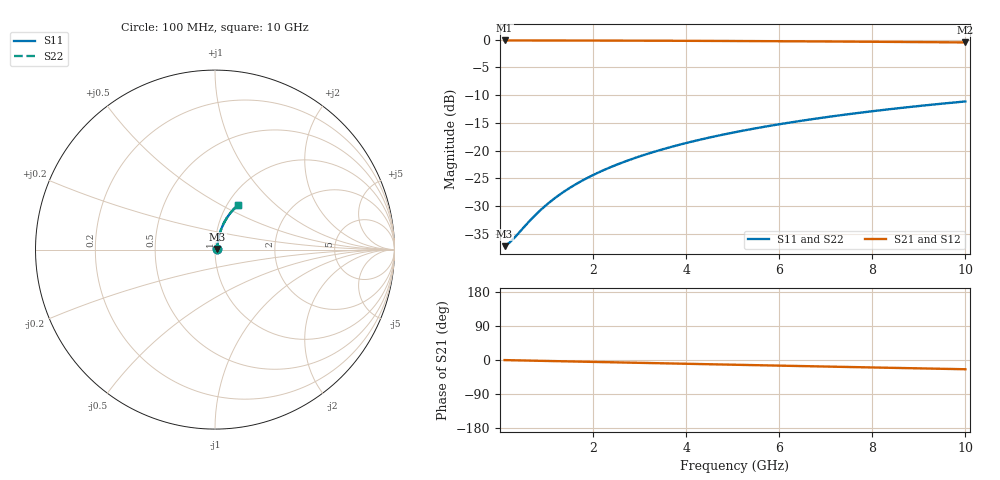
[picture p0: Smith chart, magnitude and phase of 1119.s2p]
# Hz S RI R 50.00
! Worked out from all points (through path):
!   100 points, 100 MHz to 10 GHz, reference 50 ohm
!   highest |S21| = -0.12 dB at 100 MHz (marker M1); lowest = -0.5 dB at 10 GHz (marker M2)
!   group delay of S21, straight-line fit = 6.79 ps
!   lowest |S11| = -37.3 dB at 100 MHz (marker M3), VSWR 1.03, Z = 51.4 + j0.295 ohm
!   |S11| at or under -10 dB: start of sweep to end of sweep
!   |S22| runs from -37.3 to -11.1 dB; largest |S21 - S12| = 0
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1e8  0.0134 0.00287  0.9866 -0.0043  0.9866 -0.0043  0.0134 0.00287
2e8  0.0135 0.00574  0.9865 -0.0086  0.9865 -0.0086  0.0135 0.00574
3e8  0.0136 0.00861  0.9864 -0.0129  0.9864 -0.0129  0.0136 0.00861
7e8  0.0143 0.0201  0.9856 -0.0301  0.9856 -0.0301  0.0143 0.0201
8e8  0.0145 0.0229  0.9854 -0.0344  0.9854 -0.0344  0.0145 0.0229
1e9  0.015 0.0286  0.9849 -0.0429  0.9849 -0.0429  0.015 0.0286
1.2e9  0.0156 0.0343  0.9842 -0.0515  0.9842 -0.0515  0.0156 0.0343
1.4e9  0.0163 0.04  0.9835 -0.0601  0.9835 -0.0601  0.0163 0.04
1.6e9  0.0171 0.0457  0.9826 -0.0686  0.9826 -0.0686  0.0171 0.0457
1.8e9  0.018 0.0513  0.9817 -0.0771  0.9817 -0.0771  0.018 0.0513
2.1e9  0.0195 0.0598  0.98 -0.0899  0.98 -0.0899  0.0195 0.0598
2.5e9  0.0218 0.071  0.9775 -0.1068  0.9775 -0.1068  0.0218 0.071
2.9e9  0.0245 0.082  0.9745 -0.1236  0.9745 -0.1236  0.0245 0.082
3.4e9  0.0285 0.0957  0.9703 -0.1444  0.9703 -0.1444  0.0285 0.0957
3.8e9  0.032 0.1065  0.9664 -0.161  0.9664 -0.161  0.032 0.1065
4.2e9  0.0359 0.1171  0.9622 -0.1774  0.9622 -0.1774  0.0359 0.1171
5.1e9  0.046 0.1404  0.9512 -0.2136  0.9512 -0.2136  0.046 0.1404
5.9e9  0.0564 0.1603  0.94 -0.245  0.94 -0.245  0.0564 0.1603
6.7e9  0.068 0.1793  0.9273 -0.2756  0.9273 -0.2756  0.068 0.1793
7.5e9  0.0807 0.1973  0.9133 -0.3052  0.9133 -0.3052  0.0807 0.1973
8.4e9  0.0964 0.2164  0.8961 -0.3373  0.8961 -0.3373  0.0964 0.2164
1e10  0.1271 0.2467  0.8623 -0.391  0.8623 -0.391  0.1271 0.2467
